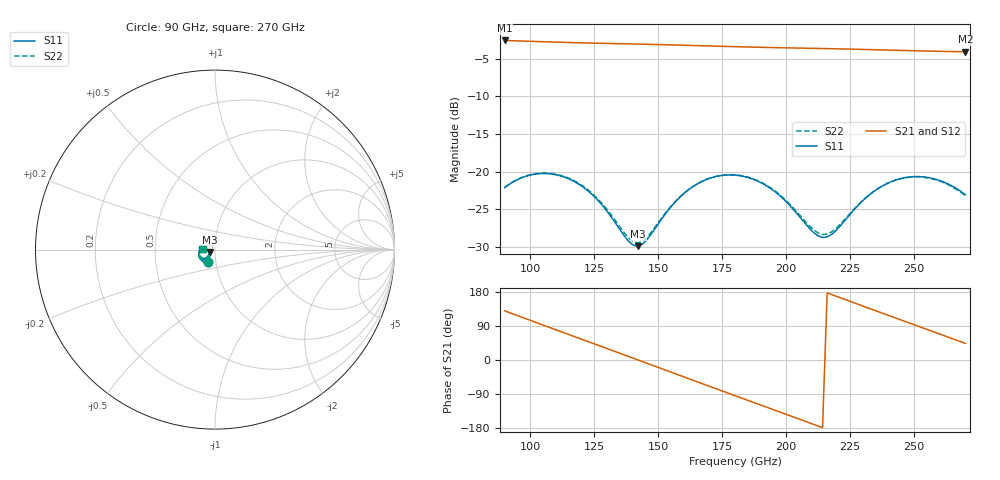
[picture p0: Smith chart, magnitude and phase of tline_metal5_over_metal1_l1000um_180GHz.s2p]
#  GHZ S DB R 50
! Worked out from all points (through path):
!   101 points, 90 GHz to 270 GHz, reference 50 ohm
!   highest |S21| = -2.57 dB at 90 GHz (marker M1); lowest = -4.1 dB at 270 GHz (marker M2)
!   group delay of S21, straight-line fit = 6.88 ps
!   lowest |S11| = -29.9 dB at 142.2 GHz (marker M3), VSWR 1.07, Z = 47.2 - j1.4 ohm
!   |S11| at or under -10 dB: start of sweep to end of sweep
!   |S22| runs from -29.5 to -20.2 dB; largest |S21 - S12| = 7.4e-14
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90  -22.14 -118.8  -2.57 129.8  -2.57 129.8  -22.12 -118.0
97.2  -20.76 -131.8  -2.65 111.7  -2.65 111.7  -20.72 -131.1
104.4  -20.27 -145.8  -2.73 93.8  -2.73 93.8  -20.21 -145.0
111.6  -20.56 -159.5  -2.81 75.9  -2.81 75.9  -20.48 -158.6
120.6  -22.05 -174.5  -2.89 53.5  -2.89 53.5  -21.93 -173.5
131.4  -25.92 177.2  -2.98 26.7  -2.98 26.7  -25.66 178.4
138.6  -29.33 -168.7  -3.03 8.8  -3.03 8.8  -28.89 -168.5
142.2  -29.93 -152.3  -3.05 -0.1  -3.05 -0.1  -29.49 -153.3
151.2  -26.38 -126.5  -3.13 -22.6  -3.13 -22.6  -26.26 -128.1
165.6  -21.59 -137.2  -3.26 -58.4  -3.26 -58.4  -21.56 -137.8
172.8  -20.65 -148.5  -3.33 -76.2  -3.33 -76.2  -20.62 -148.8
180  -20.48 -160.4  -3.40 -94.0  -3.40 -94.0  -20.44 -160.5
194.4  -22.37 178.8  -3.51 -129.6  -3.51 -129.6  -22.28 179.1
203.4  -25.27 174.2  -3.57 -151.8  -3.57 -151.8  -25.07 174.7
210.6  -28.08 -174.8  -3.62 -169.6  -3.62 -169.6  -27.73 -174.9
216  -28.69 -155.4  -3.66 177.0  -3.66 177.0  -28.32 -156.9
225  -25.68 -135.6  -3.72 154.7  -3.72 154.7  -25.55 -137.9
234  -22.71 -138.4  -3.80 132.4  -3.80 132.4  -22.69 -140.3
241.2  -21.32 -146.8  -3.86 114.6  -3.86 114.6  -21.34 -148.5
248.4  -20.71 -156.9  -3.92 96.9  -3.92 96.9  -20.75 -158.5
255.6  -20.80 -167.3  -3.98 79.2  -3.98 79.2  -20.86 -168.8
270  -23.09 177.2  -4.08 43.8  -4.08 43.8  -23.21 175.7
